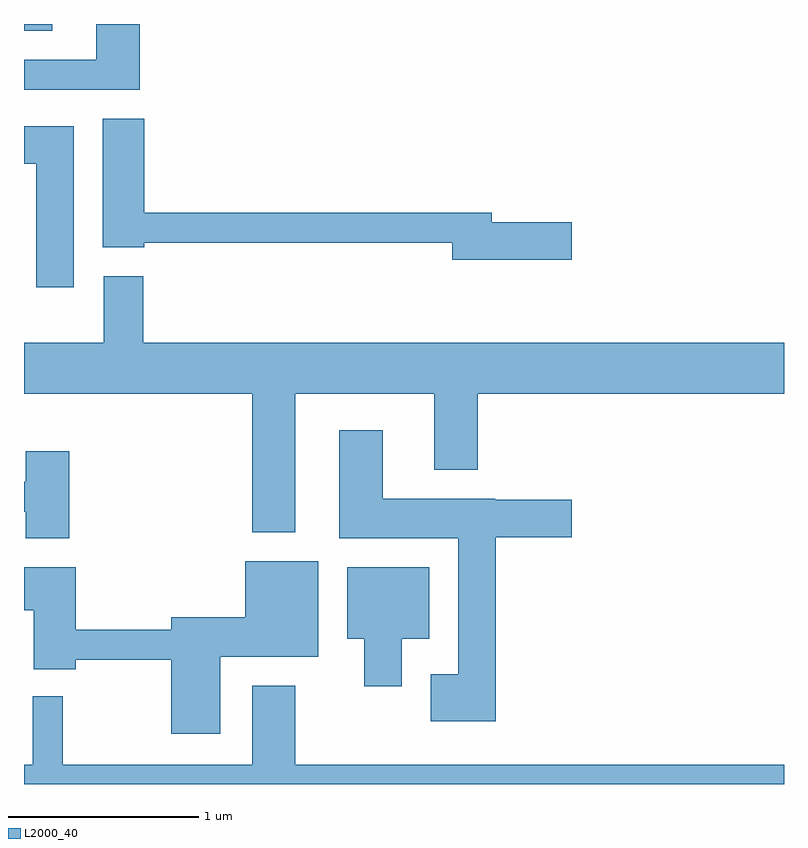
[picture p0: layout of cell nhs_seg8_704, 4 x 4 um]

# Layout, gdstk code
import gdstk
lib = gdstk.Library(unit=1e-6, precision=1e-09)
def R(c, l, rs):  # rectangles x0, y0, x1, y1
    for r in rs: c.add(gdstk.rectangle(r[:2], r[2:], *l))
def P(c, l, *ps):  # polygons
    for p in ps: c.add(gdstk.Polygon(p, *l))
L2000_40 = (2000, 40)

nhs_seg8_704 = lib.new_cell('nhs_seg8_704')
R(nhs_seg8_704, L2000_40, [(205.611,1858.306,205.759,1858.342)])
P(nhs_seg8_704, L2000_40, [(206.219,1858.342),(205.991,1858.342),(205.991,1858.154),(205.611,1858.154),(205.611,1857.996),(206.219,1857.996)],
  [(208.494,1857.299),(208.074,1857.299),(208.074,1857.349),(206.244,1857.349),(206.244,1857.844),(206.026,1857.844),(206.026,1857.166),(206.244,1857.166),(206.244,1857.191),(207.866,1857.191),(207.866,1857.101),(208.494,1857.101)],
  [(205.874,1857.804),(205.611,1857.804),(205.611,1857.606),(205.676,1857.606),(205.676,1856.956),(205.874,1856.956)],
  [(207.039,1856.396),(207.771,1856.396),(207.771,1855.996),(207.999,1855.996),(207.999,1856.396),(209.611,1856.396),(209.611,1856.664),(206.239,1856.664),(206.239,1857.014),(206.031,1857.014),(206.031,1856.664),(205.611,1856.664),(205.611,1856.396),(206.811,1856.396),(206.811,1855.666),(207.039,1855.666)],
  [(208.094,1855.641),(208.494,1855.641),(208.494,1855.839),(208.09,1855.839),(208.09,1855.844),(207.499,1855.844),(207.499,1856.204),(207.271,1856.204),(207.271,1855.636),(207.896,1855.636),(207.896,1854.919),(207.751,1854.919),(207.751,1854.671),(208.094,1854.671)],
  [(205.849,1856.094),(205.621,1856.094),(205.621,1855.934),(205.611,1855.934),(205.611,1855.776),(205.621,1855.776),(205.621,1855.636),(205.849,1855.636)],
  [(206.644,1855.011),(207.159,1855.011),(207.159,1855.514),(206.776,1855.514),(206.776,1855.219),(206.386,1855.219),(206.386,1855.154),(205.884,1855.154),(205.884,1855.484),(205.611,1855.484),(205.611,1855.256),(205.661,1855.256),(205.661,1854.946),(205.884,1854.946),(205.884,1854.996),(206.386,1854.996),(206.386,1854.606),(206.644,1854.606)],
  [(207.599,1855.106),(207.744,1855.106),(207.744,1855.484),(207.311,1855.484),(207.311,1855.106),(207.401,1855.106),(207.401,1854.856),(207.599,1854.856)],
  [(209.611,1854.444),(207.039,1854.444),(207.039,1854.859),(206.811,1854.859),(206.811,1854.444),(205.814,1854.444),(205.814,1854.803),(205.656,1854.803),(205.656,1854.444),(205.611,1854.444),(205.611,1854.342),(209.611,1854.342)])

lib.write_gds('nhs_seg8_704.gds')
